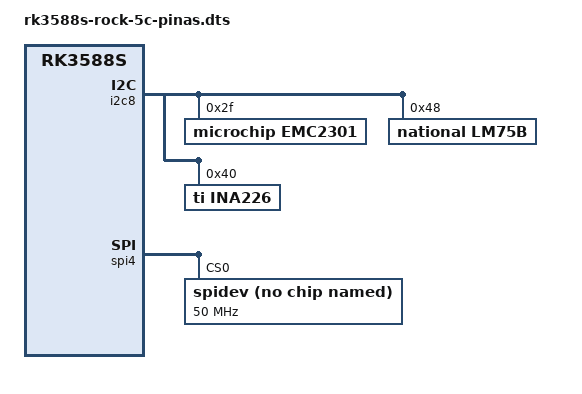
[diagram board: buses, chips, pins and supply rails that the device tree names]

/dts-v1/;


#include <dt-bindings/thermal/thermal.h>
#include "rk3588s-rock-5c.dts"

&i2c8 {
	status = "okay";
	pinctrl-0 = <&i2c8m2_xfer>;
    emc2301: emc2301@2f {
        compatible = "microchip,emc2301";
        reg = <0x2f>;
        #address-cells = <1>;
        #size-cells = <0>;
        #cooling-cells = <2>;
        microchip,pwm-separate;
        microchip,cooling-levels = <10>;

        channel@0 {
            reg = <0>;
            pwm-min = <0>;
        };
    };
    lm75b: lm75b@48 {
        compatible = "national,lm75b";
        reg = <0x48>;
        #thermal-sensor-cells = <0>;
    };
    ina226@40 {
        compatible = "ti,ina226";
        reg = <0x40>;
        shunt-resistor = <5000>;
    };
};

&spi4 {
	status = "okay";
	#address-cells = <1>;
	#size-cells = <0>;
	pinctrl-names = "default";
	pinctrl-0 = <&spi4m2_cs0 &spi4m2_pins>;
	max-freq = <50000000>;

	spidev@0 {
		compatible = "rockchip,spidev";
		status = "okay";
		reg = <0>;
		spi-max-frequency = <50000000>;
	};
};

&{/thermal-zones} {
    sata_thermal: sata-thermal {
        polling-delay-passive = <1000>;
        polling-delay = <1000>;
        thermal-sensors = <&lm75b>;
        sensor_trips: trips {
            temp_crit: temp-crit {
                temperature = <65000>;
                hysteresis = <0>;
                type = "critical";
            };
            temp_hot: temp-hot {
                temperature = <42000>;
                hysteresis = <3000>;
                type = "active";
            };

            temp_vhot: temp-vhot {
                temperature = <55000>;
                hysteresis = <5000>;
                type = "active";
            };
        };

        cooling_maps: cooling-maps {
            hot {
                trip = <&temp_hot>;
                cooling-device = <&emc2301 3 3>;
            };


            vhot {
                trip = <&temp_vhot>;
                cooling-device = <&emc2301 4 7>;
            };
            melt {
                trip = <&temp_crit>;
                cooling-device = <&emc2301 THERMAL_NO_LIMIT THERMAL_NO_LIMIT>;
            };
        };
    };
};

&gpio0 {
	gpio-line-names =
		/* GPIO0_A0-A3 */
		"", "", "", "",
		/* GPIO0_A4-A7 */
		"", "", "", "",

		/* GPIO0_B0-B3 */
		"", "", "", "",
		/* GPIO0_B4-B7 */
		"", "PIN_8", "PIN_10", "",

		/* GPIO0_C0-C3 */
		"", "", "", "",
		/* GPIO0_C4-C7 */
		"", "", "", "PIN_27",

		/* GPIO0_D0-D3 */
		"PIN_28", "", "", "",
		/* GPIO0_D4-D7 */
		"", "", "", "";
};

&gpio1 {
	gpio-line-names =
		/* GPIO1_A0-A3 */
		"PIN_21", "PIN_19", "PIN_23", "PIN_24",
		/* GPIO1_A4-A7 */
		"PIN_26", "PIN_16", "", "",

		/* GPIO1_B0-B3 */
		"PIN_18", "PIN_31", "PIN_29", "PIN_7",
		/* GPIO1_B4-B7 */
		"PIN_33", "PIN_22", "", "",

		/* GPIO1_C0-C3 */
		"", "", "", "",
		/* GPIO1_C4-C7 */
		"", "", "", "",

		/* GPIO1_D0-D3 */
		"", "", "", "",
		/* GPIO1_D4-D7 */
		"", "", "PIN_5", "PIN_3";
};

&gpio2 {
	gpio-line-names =
		/* GPIO2_A0-A3 */
		"", "", "", "",
		/* GPIO2_A4-A7 */
		"", "", "", "",

		/* GPIO2_B0-B3 */
		"", "", "", "",
		/* GPIO2_B4-B7 */
		"", "", "", "",

		/* GPIO2_C0-C3 */
		"", "", "", "",
		/* GPIO2_C4-C7 */
		"", "", "", "",

		/* GPIO2_D0-D3 */
		"", "", "", "",
		/* GPIO2_D4-D7 */
		"", "", "", "";
};

&gpio3 {
	gpio-line-names =
		/* GPIO3_A0-A3 */
		"", "", "", "",
		/* GPIO3_A4-A7 */
		"", "", "", "",

		/* GPIO3_B0-B3 */
		"", "", "", "",
		/* GPIO3_B4-B7 */
		"", "", "", "",

		/* GPIO3_C0-C3 */
		"", "", "", "",
		/* GPIO3_C4-C7 */
		"", "", "", "",

		/* GPIO3_D0-D3 */
		"", "", "", "",
		/* GPIO3_D4-D7 */
		"", "", "", "";
};

&gpio4 {
	gpio-line-names =
		/* GPIO4_A0-A3 */
		"PIN_35", "PIN_12", "PIN_36", "",
		/* GPIO4_A4-A7 */
		"", "PIN_38", "", "",

		/* GPIO4_B0-B3 */
		"PIN_32", "PIN_40", "PIN_13", "PIN_11",
		/* GPIO4_B4-B7 */
		"PIN_15", "", "", "",

		/* GPIO4_C0-C3 */
		"", "", "", "",
		/* GPIO4_C4-C7 */
		"", "", "", "",

		/* GPIO4_D0-D3 */
		"", "", "", "",
		/* GPIO4_D4-D7 */
		"", "", "", "";
};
